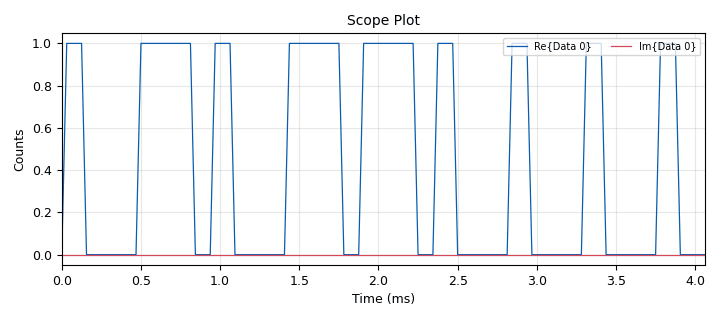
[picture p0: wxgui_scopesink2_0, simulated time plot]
<?xml version='1.0' encoding='utf-8'?>
<?grc format='1' created='3.7.13'?>
<flow_graph>
<block>
<key>options</key>
<param><key>id</key><value>top_block</value></param>
<param><key>generate_options</key><value>wx_gui</value></param>
</block>
<block>
<key>variable_check_box</key>
<param><key>id</key><value>A</value></param>
<param><key>value</key><value>0</value></param>
<param><key>false</key><value>0</value></param>
<param><key>label</key><value></value></param>
<param><key>true</key><value>1</value></param>
</block>
<block>
<key>variable_check_box</key>
<param><key>id</key><value>B</value></param>
<param><key>value</key><value>0</value></param>
<param><key>false</key><value>0</value></param>
<param><key>label</key><value></value></param>
<param><key>true</key><value>2</value></param>
</block>
<block>
<key>variable_check_box</key>
<param><key>id</key><value>C</value></param>
<param><key>value</key><value>0</value></param>
<param><key>false</key><value>0</value></param>
<param><key>label</key><value></value></param>
<param><key>true</key><value>4</value></param>
</block>
<block>
<key>variable_check_box</key>
<param><key>id</key><value>D</value></param>
<param><key>value</key><value>0</value></param>
<param><key>false</key><value>0</value></param>
<param><key>label</key><value></value></param>
<param><key>true</key><value>8</value></param>
</block>
<block>
<key>variable</key>
<param><key>id</key><value>base</value></param>
<param><key>value</key><value>0x9F78B0</value></param>
</block>
<block>
<key>variable_text_box</key>
<param><key>id</key><value>freq</value></param>
<param><key>converver</key><value>float_converter</value></param>
<param><key>value</key><value>434000000</value></param>
<param><key>formatter</key><value>None</value></param>
<param><key>label</key><value>Freq</value></param>
</block>
<block>
<key>variable_check_box</key>
<param><key>id</key><value>rf_gain</value></param>
<param><key>value</key><value>0</value></param>
<param><key>false</key><value>0</value></param>
<param><key>label</key><value></value></param>
<param><key>true</key><value>14</value></param>
</block>
<block>
<key>variable</key>
<param><key>id</key><value>rf_samp_rate</value></param>
<param><key>value</key><value>2048000</value></param>
</block>
<block>
<key>variable</key>
<param><key>id</key><value>samp_rate</value></param>
<param><key>value</key><value>32000</value></param>
</block>
<block>
<key>epy_block</key>
<param><key>id</key><value>epy_block_0</value></param>
<param><key>_source_code</key><value>"""
Embedded Python Blocks:

Each time this file is saved, GRC will instantiate the first class it finds
to get ports and parameters of your block. The arguments to __init__  will
be the parameters. All of them are required to have default values!
"""

import numpy as np
from gnuradio import gr


class blk(gr.sync_block):  # other base classes are basic_block, decim_block, interp_block
    """Embedded Python Block example - a simple multiply const"""

    def __init__(self, sample_rate = 2048000, short_impulse_len = 0.0005, long_impulse_len = 0.001, packet_separator_len = 0.01, packet_len = 24, data = 0):  # only default arguments here
        """arguments to this function show up as parameters in GRC"""
        gr.sync_block.__init__(
            self,
            name='remote basic coder',   # will show up in GRC
            in_sig=[],
            out_sig=[np.complex64]
        )
        # if an attribute with the same name as a parameter is found,
        # a callback is registered (properties work, too).
        self.sample_rate = sample_rate
        self.short_impulse_len = short_impulse_len
        self.long_impulse_len = long_impulse_len
        self.packet_len = packet_len
        self.data = data
        self.sl = int(sample_rate * short_impulse_len)
        self.ll = int(sample_rate * long_impulse_len) 
        self.ps = int(sample_rate * packet_separator_len)
        self.transm_index = 0
        
    def generate_bit(self, bit):
        return [np.complex64(1.0) for i in xrange(self.ll if bit else self.sl)] + [np.complex64(0.0) for i in xrange(self.sl if bit else self.ll)]
        
    def generate_packet(self):
        res = []
        for i in xrange(self.packet_len):
            res += self.generate_bit(1 &amp; (self.data &gt;&gt; (self.packet_len - i - 1)))
        res += [np.complex64(1.0) for i in xrange(self.sl)] + [np.complex64(0.0) for i in xrange(self.ps)]
        return res

    def work(self, input_items, output_items):
    
        pack = self.generate_packet()
        for i in range(len(output_items[0])):
            output_items[0][i] = pack[self.transm_index]
            self.transm_index = (self.transm_index + 1) % len(pack)
            
        return len(output_items[0])
</value></param>
<param><key>data</key><value>A + B + C + D + base</value></param>
<param><key>long_impulse_len</key><value>0.00035</value></param>
<param><key>packet_len</key><value>24</value></param>
<param><key>packet_separator_len</key><value>0.005</value></param>
<param><key>sample_rate</key><value>samp_rate</value></param>
<param><key>short_impulse_len</key><value>0.00015</value></param>
</block>
<block>
<key>low_pass_filter</key>
<param><key>id</key><value>low_pass_filter_0</value></param>
<param><key>cutoff_freq</key><value>7000</value></param>
<param><key>decim</key><value>1</value></param>
<param><key>_enabled</key><value>0</value></param>
<param><key>type</key><value>fir_filter_ccf</value></param>
<param><key>gain</key><value>1</value></param>
<param><key>samp_rate</key><value>samp_rate</value></param>
<param><key>width</key><value>1000</value></param>
<param><key>win</key><value>firdes.WIN_HAMMING</value></param>
</block>
<block>
<key>osmosdr_sink</key>
<param><key>id</key><value>osmosdr_sink_0</value></param>
<param><key>bb_gain0</key><value>20</value></param>
<param><key>freq0</key><value>freq</value></param>
<param><key>if_gain0</key><value>20</value></param>
<param><key>gain0</key><value>rf_gain</value></param>
<param><key>args</key><value>hackrf=2e12c3,buffers=2</value></param>
<param><key>type</key><value>fc32</value></param>
<param><key>sample_rate</key><value>rf_samp_rate</value></param>
<param><key>sync</key><value></value></param>
</block>
<block>
<key>rational_resampler_xxx</key>
<param><key>id</key><value>rational_resampler_xxx_0</value></param>
<param><key>decim</key><value>samp_rate</value></param>
<param><key>interp</key><value>rf_samp_rate</value></param>
<param><key>taps</key><value></value></param>
<param><key>type</key><value>ccc</value></param>
</block>
<block>
<key>wxgui_scopesink2</key>
<param><key>id</key><value>wxgui_scopesink2_0</value></param>
<param><key>ac_couple</key><value>False</value></param>
<param><key>num_inputs</key><value>1</value></param>
<param><key>samp_rate</key><value>samp_rate</value></param>
<param><key>t_scale</key><value>0</value></param>
<param><key>title</key><value>Scope Plot</value></param>
<param><key>trig_mode</key><value>wxgui.TRIG_MODE_AUTO</value></param>
<param><key>type</key><value>complex</value></param>
<param><key>v_offset</key><value>0</value></param>
<param><key>v_scale</key><value>0</value></param>
<param><key>xy_mode</key><value>False</value></param>
<param><key>y_axis_label</key><value>Counts</value></param>
</block>
<connection><source_block_id>epy_block_0</source_block_id><sink_block_id>low_pass_filter_0</sink_block_id><source_key>0</source_key><sink_key>0</sink_key></connection>
<connection><source_block_id>epy_block_0</source_block_id><sink_block_id>rational_resampler_xxx_0</sink_block_id><source_key>0</source_key><sink_key>0</sink_key></connection>
<connection><source_block_id>epy_block_0</source_block_id><sink_block_id>wxgui_scopesink2_0</sink_block_id><source_key>0</source_key><sink_key>0</sink_key></connection>
<connection><source_block_id>low_pass_filter_0</source_block_id><sink_block_id>rational_resampler_xxx_0</sink_block_id><source_key>0</source_key><sink_key>0</sink_key></connection>
<connection><source_block_id>low_pass_filter_0</source_block_id><sink_block_id>wxgui_scopesink2_0</sink_block_id><source_key>0</source_key><sink_key>0</sink_key></connection>
<connection><source_block_id>rational_resampler_xxx_0</source_block_id><sink_block_id>osmosdr_sink_0</sink_block_id><source_key>0</source_key><sink_key>0</sink_key></connection>
</flow_graph>
